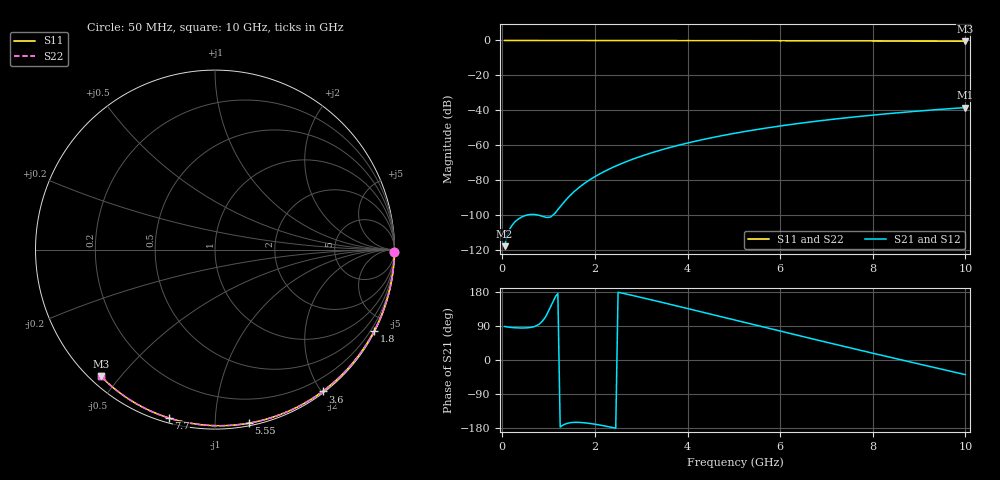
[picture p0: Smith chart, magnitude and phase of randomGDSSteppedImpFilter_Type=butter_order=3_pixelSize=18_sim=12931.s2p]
! freq	dB(S11)	phase(S11)	dB(S12)	phase(S12)
!  dB(S21)	phase(S21)	dB(S22)	phase(S22)
!S-par simulation data
#  GHz  S  DB  R 50
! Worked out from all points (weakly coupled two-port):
!   200 points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, 50 MHz to 10 GHz, reference 50 ohm
!   highest |S21| = -38.44 dB at 10 GHz (marker M1); lowest = -117.8 dB at 50 MHz (marker M2)
!   lowest |S11| = -0.4 dB at 10 GHz (marker M3), VSWR 38.93, Z = 1.54 - j22.3 ohm
!   |S11| at or under -10 dB: nowhere
!   |S22| runs from -0.4 to 0.0 dB; largest |S21 - S12| = 0
!   S11 on the Smith chart (normalised r, x): 50 MHz: open; 1.8 GHz: 0.04, -4.16; 3.6 GHz: 0.02, -2.01; 5.55 GHz: 0.02, -1.21; 7.7 GHz: 0.02, -0.76; 10 GHz: 0.03, -0.45
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0.05  -0.00 -0.8  -117.83 88.5  -117.83 88.5  -0.00 -0.8
0.9  -0.02 -13.6  -101.04 108.1  -101.04 108.1  -0.02 -13.6
1.75  -0.03 -26.3  -82.34 -165.4  -82.34 -165.4  -0.03 -26.3
1.8  -0.03 -27.0  -81.39 -166.0  -81.39 -166.0  -0.03 -27.0
1.85  -0.04 -27.8  -80.49 -166.7  -80.49 -166.7  -0.04 -27.8
1.9  -0.04 -28.5  -79.63 -167.5  -79.63 -167.5  -0.04 -28.5
2.05  -0.04 -30.7  -77.24 -170.4  -77.24 -170.4  -0.04 -30.7
2.25  -0.04 -33.6  -74.42 -174.9  -74.42 -174.9  -0.04 -33.6
2.45  -0.05 -36.5  -71.93 -179.9  -71.93 -179.9  -0.05 -36.5
2.65  -0.05 -39.4  -69.70 174.8  -69.70 174.8  -0.05 -39.4
3  -0.06 -44.4  -66.28 165.1  -66.28 165.1  -0.06 -44.4
3.4  -0.07 -50.0  -62.94 153.5  -62.94 153.5  -0.07 -50.0
3.6  -0.07 -52.8  -61.45 147.7  -61.45 147.7  -0.07 -52.8
4.3  -0.09 -62.4  -56.94 126.9  -56.94 126.9  -0.09 -62.4
5.05  -0.11 -72.4  -53.01 104.5  -53.01 104.5  -0.11 -72.4
5.55  -0.13 -78.9  -50.79 89.6  -50.79 89.6  -0.13 -78.9
6.1  -0.15 -85.9  -48.62 73.3  -48.62 73.3  -0.15 -85.9
6.7  -0.18 -93.4  -46.52 55.6  -46.52 55.6  -0.18 -93.4
7.7  -0.24 -105.4  -43.55 26.5  -43.55 26.5  -0.24 -105.4
8.35  -0.29 -113.0  -41.89 7.9  -41.89 7.9  -0.29 -113.0
9.15  -0.36 -122.3  -40.09 -14.8  -40.09 -14.8  -0.36 -122.3
10  -0.45 -131.9  -38.44 -38.7  -38.44 -38.7  -0.45 -131.9
